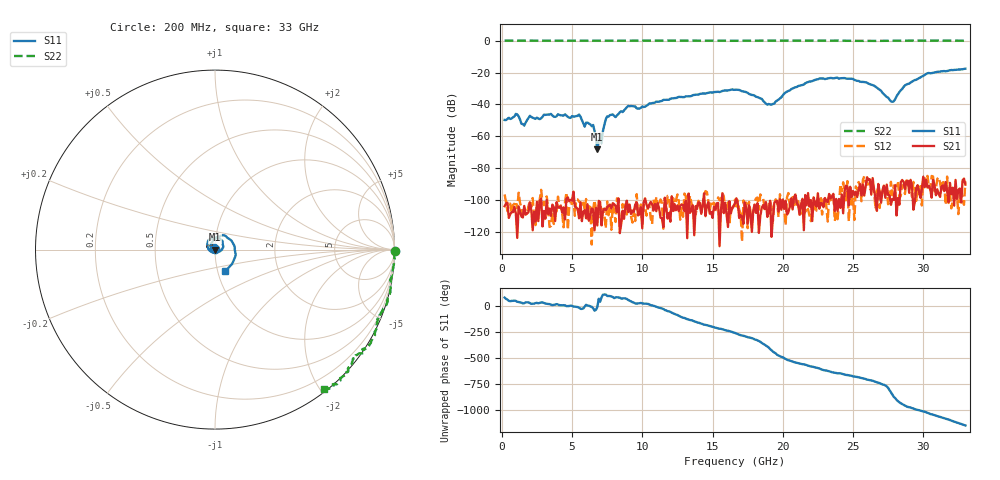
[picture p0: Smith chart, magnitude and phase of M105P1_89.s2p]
# GHZ S RI R 50
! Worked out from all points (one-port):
!   329 points, 200 MHz to 33 GHz, reference 50 ohm
!   lowest |S11| = -68.1 dB at 6.8 GHz (marker M1), VSWR 1.00, Z = 50 - j0.00486 ohm
!   |S11| at or under -10 dB: start of sweep to end of sweep
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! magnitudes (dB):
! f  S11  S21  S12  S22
! 200 MHz  -49.8  -103.9  -96.5  0.0
! 1 GHz  -46.0  -108.4  -100.8  0.0
! 1.6 GHz  -53.3  -103.7  -105.5  0.0
! 2 GHz  -47.2  -101.4  -100.5  0.0
! 5.5 GHz  -46.4  -111.5  -101.1  -0.1
! 5.7 GHz  -49.8  -113.3  -104.5  -0.1
! 5.9 GHz  -54.0  -106.3  -106.0  -0.1
! 6.5 GHz  -52.9  -106.0  -106.2  0.0
! 6.8 GHz  -68.1  -116.0  -104.2  -0.1
! 7 GHz  -58.3  -101.3  -102.6  0.0
! 7.1 GHz  -64.3  -116.0  -106.0  -0.1
! 7.2 GHz  -56.8  -107.2  -106.0  -0.1
! 7.5 GHz  -47.5  -104.6  -100.9  -0.1
! 11.2 GHz  -38.3  -105.2  -101.9  0.0
! 16.6 GHz  -30.8  -101.9  -99.8  -0.1
! 19.2 GHz  -40.1  -123.1  -104.0  0.0
! 22.1 GHz  -25.3  -113.2  -106.2  0.1
! 25 GHz  -24.1  -94.3  -98.5  -0.1
! 26.5 GHz  -28.2  -93.6  -93.9  -0.2
! 27.6 GHz  -37.1  -97.1  -100.6  -0.1
! 30.3 GHz  -20.5  -92.2  -84.9  0.0
! 33 GHz  -17.6  -90.3  -88.3  -0.1
